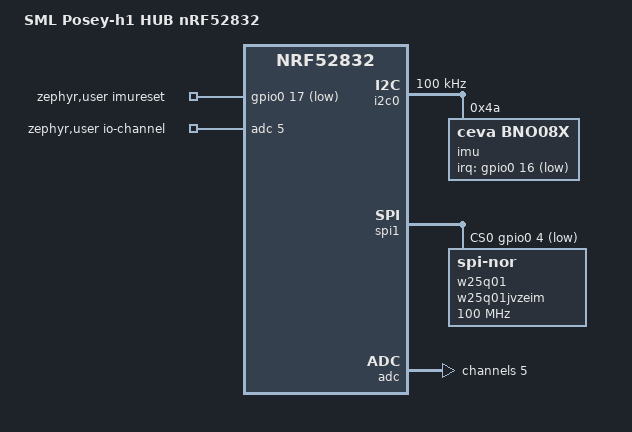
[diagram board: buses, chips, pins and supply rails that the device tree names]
/dts-v1/;
#include <nordic/nrf52832_ciaa.dtsi>
#include "sml_poseyh1_nrf52832-pinctrl.dtsi"

/ {
	model = "SML Posey-h1 HUB nRF52832";
	compatible = "sml,sml-poseyh1-nrf52832";

	chosen {
		zephyr,sram = &sram0;
		zephyr,flash = &flash0;
		zephyr,code-partition = &slot0_partition;
	};

	zephyr,user {
		io-channels = <&adc 5>;
		imureset-gpios = <&gpio0 17 (GPIO_PULL_UP | GPIO_ACTIVE_LOW)>;
	};

	aliases {
		spi-flash0 = &w25q01;
	};
};

&gpiote {
	status = "okay";
};

// Label needed for BNO08x driver config. Might need to trace
// exactly why...
&gpio0 {
	status = "okay";
	label = "gpio0";
};

&i2c0 {
	compatible = "nordic,nrf-twi";
	status = "okay";
	pinctrl-0 = <&i2c0_default>;
	pinctrl-1 = <&i2c0_sleep>;
	pinctrl-names = "default", "sleep";
    clock-frequency = <100000>;

    bno08x0: bno08x@4a {
        compatible = "ceva,bno08x";
        label = "imu";
        reg = <0x4a>;
        irq-gpios = <&gpio0 16 (GPIO_ACTIVE_LOW | GPIO_PULL_UP)>;
    };
};

&spi1 {
	compatible = "nordic,nrf-spi";
	status = "okay";
	pinctrl-0 = <&spi1_default>;
	pinctrl-1 = <&spi1_sleep>;
	pinctrl-names = "default", "sleep";
	cs-gpios = <&gpio0 4 GPIO_ACTIVE_LOW>;

	w25q01: w25q01jvzeim@0 {
		compatible = "jedec,spi-nor";
		reg = <0>;
		spi-max-frequency = <100000000>;
		size = <0x40000000>; // 1 GBit
		has-dpd;
		jedec-id = [ef 70 21];
	};
};

&adc {
	status = "okay";
	#address-cells = <1>;
	#size-cells = <0>;

	channel@5 {
		reg = <5>;
		zephyr,gain = "ADC_GAIN_1_6";
		zephyr,reference = "ADC_REF_INTERNAL";
		zephyr,acquisition-time = <ADC_ACQ_TIME_DEFAULT>;
		zephyr,input-positive = <NRF_SAADC_AIN5>;
		zephyr,resolution = <12>;
	};
};

&flash0 {
	partitions {
		compatible = "fixed-partitions";
		#address-cells = <1>;
		#size-cells = <1>;

		boot_partition: partition@0 {
			label = "mcuboot";
			reg = <0x0 0xc000>;
		};
		slot0_partition: partition@c000 {
			label = "image-0";
			reg = <0xc000 0x32000>;
		};
		slot1_partition: partition@3e000 {
			label = "image-1";
			reg = <0x3e000 0x32000>;
		};
		scratch_partition: partition@70000 {
			label = "image-scratch";
			reg = <0x70000 0xa000>;
		};
		storage_partition: partition@7a000 {
			label = "storage";
			reg = <0x7a000 0x6000>;
		};
	};
};
